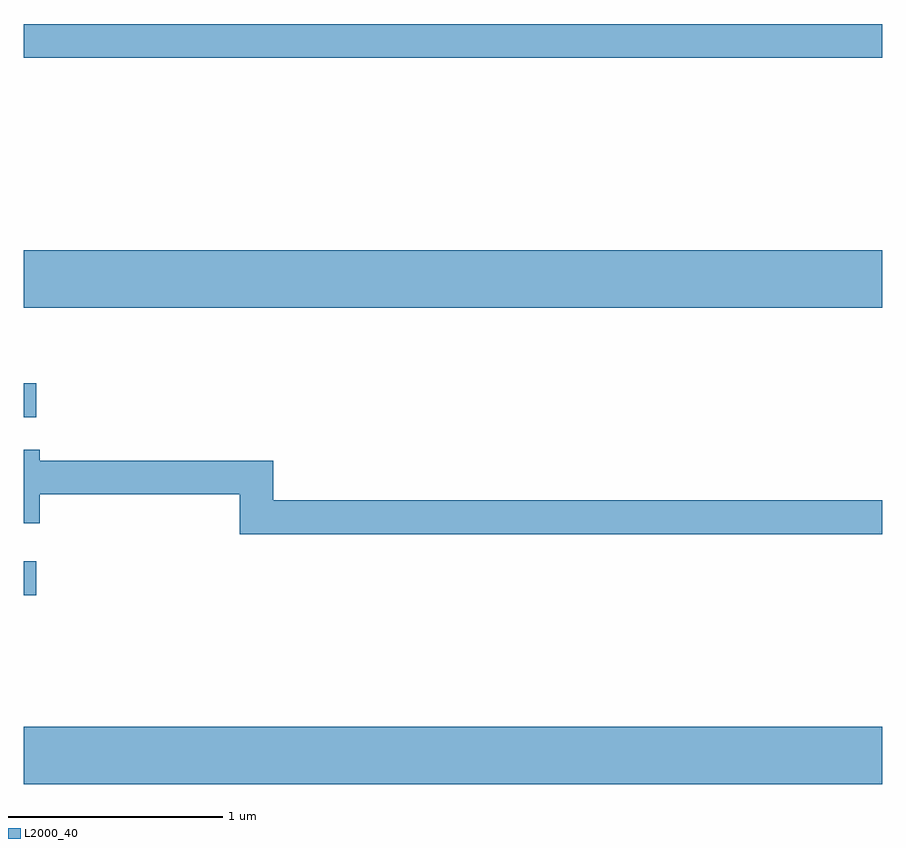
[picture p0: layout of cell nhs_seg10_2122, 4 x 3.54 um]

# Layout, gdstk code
import gdstk
lib = gdstk.Library(unit=1e-6, precision=1e-09)
def R(c, l, rs):  # rectangles x0, y0, x1, y1
    for r in rs: c.add(gdstk.rectangle(r[:2], r[2:], *l))
def P(c, l, *ps):  # polygons
    for p in ps: c.add(gdstk.Polygon(p, *l))
L2000_40 = (2000, 40)

nhs_seg10_2122 = lib.new_cell('nhs_seg10_2122')
R(nhs_seg10_2122, L2000_40, [(247.611,2122.796,251.611,2123.064), (247.611,2123.676,247.668,2123.834), (247.611,2124.506,247.668,2124.664), (247.611,2125.016,251.611,2125.284), (247.611,2126.181,251.611,2126.339)])
P(nhs_seg10_2122, L2000_40, [(251.611,2124.119),(248.774,2124.119),(248.774,2124.304),(247.684,2124.304),(247.684,2124.354),(247.611,2124.354),(247.611,2124.011),(247.684,2124.011),(247.684,2124.146),(248.616,2124.146),(248.616,2123.961),(251.611,2123.961)])

lib.write_gds('nhs_seg10_2122.gds')
